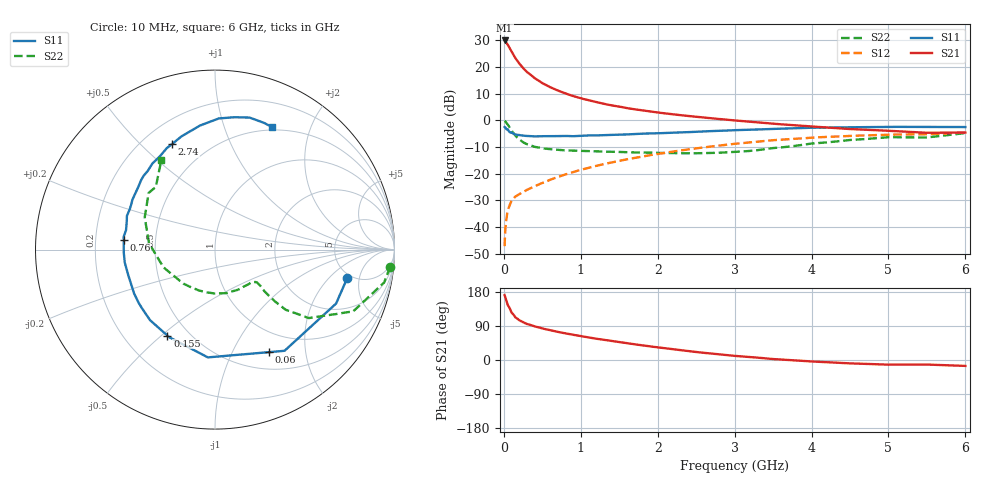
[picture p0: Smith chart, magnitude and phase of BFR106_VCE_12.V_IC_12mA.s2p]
! (c) 2015  Infineon Technologies AG, Munich
! Infineon Technologies  Discrete & RF Semiconductors
! BFR106
! VCE =  12. V,  IC =  12 mA
! Common Emitter S-Parameters:  Nov 2015
# GHz  S  MA  R  50
!  f  S11  S21  S12  S22
! GHz  MAG  ANG  MAG  ANG  MAG  ANG  MAG  ANG
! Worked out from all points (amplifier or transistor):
!   210 points, 10 MHz to 6 GHz, reference 50 ohm
!   highest |S21| = 30.0 dB at 10 MHz (marker M1)
!   |S21| within 3 dB of that: start of sweep to 77.42 MHz
!   unconditionally stable (mu >= 1): 480.7 MHz to 2.03 GHz
!   at 185 MHz: K = 0.60, MSG = 25.0 dB, |S12| = -27.9 dB
!   at 1.52 GHz: K = 1.07, MAG = 8.5 dB, |S12| = -15.0 dB
!   at 6 GHz: K = 0.99, MSG = 0.0 dB, |S12| = -4.5 dB
!   S11 on the Smith chart (normalised r, x): 10 MHz: 4.56, -3.36; 60 MHz: 0.72, -1.41; 155 MHz: 0.38, -0.52; 760 MHz: 0.32, +0.05; 2.74 GHz: 0.32, +0.62; 6 GHz: 0.46, +1.47
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0.01  0.7534 -12.2  31.64 171.3  0.0044 84.9  0.9805 -5.6
0.02  0.7387 -24.0  30.72 164.8  0.0095 75.8  0.9602 -11.0
0.05  0.6841 -55.5  26.5 145.5  0.0203 65.7  0.8433 -24.1
0.06  0.6461 -62.1  24.93 142.4  0.0224 62.5  0.8017 -26.0
0.1  0.6019 -93.8  19.66 125.2  0.0313 54.0  0.6474 -36.1
0.15  0.5506 -117.6  14.73 112.5  0.0375 49.8  0.5175 -40.4
0.155  0.5473 -119.0  14.42 111.9  0.0379 49.8  0.51 -40.4
0.2  0.5344 -132.6  11.73 105.0  0.0415 50.1  0.4425 -40.8
0.26  0.5183 -145.3  9.299 98.4  0.0465 50.9  0.3831 -40.4
0.3  0.5126 -151.6  8.113 95.1  0.0499 52.1  0.3598 -40.1
0.4  0.5038 -163.3  6.22 88.7  0.0583 55.8  0.3208 -38.5
0.5  0.508 -171.9  5.013 83.1  0.0674 58.5  0.3007 -37.9
0.6  0.5084 -178.0  4.223 78.4  0.0771 60.5  0.2895 -38.6
0.76  0.5119 173.7  3.383 71.9  0.0931 62.6  0.2777 -40.7
1.02  0.517 161.9  2.563 62.4  0.1207 64.1  0.2686 -45.9
1.4  0.5375 149.0  1.917 50.3  0.1633 63.5  0.2594 -57.0
2.02  0.5764 130.6  1.4 32.9  0.2385 58.9  0.2462 -81.3
2.74  0.6346 112.2  1.085 16.2  0.3307 50.4  0.2463 -118.7
3.1  0.6637 104.6  0.974 9.4  0.3766 45.0  0.2624 -139.3
4.1  0.7332 86.9  0.754 -4.8  0.4848 28.6  0.3778 170.2
5.1  0.759 74.0  0.63 -12.2  0.5447 13.2  0.4845 138.4
6  0.7532 65.0  0.594 -15.6  0.593 1.8  0.5805 121.0
